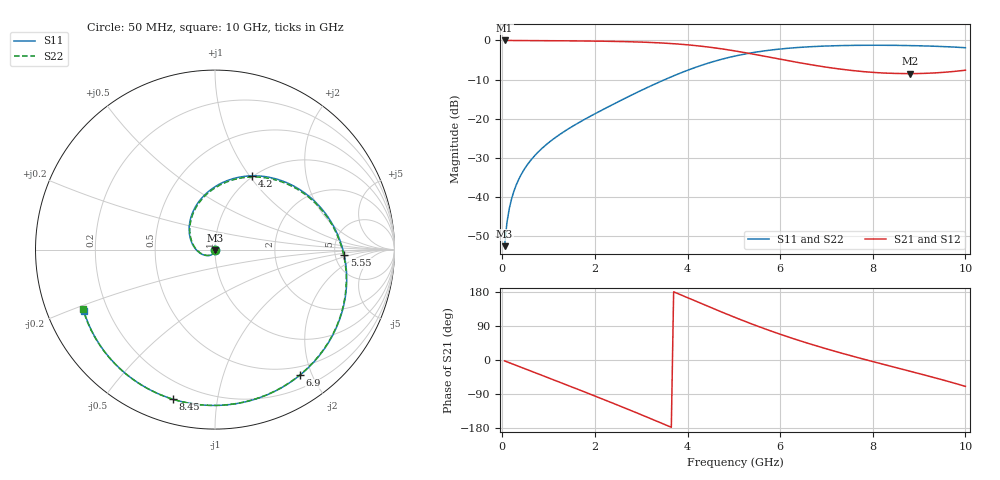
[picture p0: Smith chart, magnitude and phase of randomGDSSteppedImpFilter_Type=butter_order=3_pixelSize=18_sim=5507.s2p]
! freq	dB(S11)	phase(S11)	dB(S12)	phase(S12)
!  dB(S21)	phase(S21)	dB(S22)	phase(S22)
!S-par simulation data
#  GHz  S  DB  R 50
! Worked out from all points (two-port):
!   200 points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, 50 MHz to 10 GHz, reference 50 ohm
!   highest |S21| = -0.01 dB at 50 MHz (marker M1); lowest = -8.5 dB at 8.8 GHz (marker M2)
!   |S21| within 3 dB of the highest: start of sweep to 5.187 GHz
!   lowest |S11| = -52.5 dB at 50 MHz (marker M3), VSWR 1.00, Z = 50 - j0.236 ohm
!   |S11| at or under -10 dB: start of sweep to 3.509 GHz
!   |S22| runs from -52.5 to -1.2 dB; largest |S21 - S12| = 0
!   S11 on the Smith chart (normalised r, x): 50 MHz: 1.00, -0.00; 4.2 GHz: 0.99, +1.03; 5.55 GHz: 6.06, -0.74; 6.9 GHz: 0.37, -1.82; 8.45 GHz: 0.11, -0.75; 10 GHz: 0.11, -0.22
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0.05  -52.52 -90.8  -0.01 -2.4  -0.01 -2.4  -52.53 -90.8
0.1  -46.50 -94.0  -0.01 -4.8  -0.01 -4.8  -46.51 -94.1
0.2  -40.47 -99.1  -0.02 -9.5  -0.02 -9.5  -40.48 -99.4
0.45  -33.36 -111.3  -0.03 -21.3  -0.03 -21.3  -33.37 -111.8
1.15  -24.75 -145.0  -0.08 -54.4  -0.08 -54.4  -24.75 -146.3
1.75  -20.33 -174.0  -0.14 -83.0  -0.14 -83.0  -20.33 -175.7
2.5  -15.67 149.6  -0.26 -119.4  -0.26 -119.4  -15.67 147.7
3  -12.75 124.7  -0.42 -144.4  -0.42 -144.4  -12.76 122.9
3.4  -10.57 104.5  -0.62 -164.7  -0.62 -164.7  -10.57 102.7
3.8  -8.55 84.1  -0.92 174.7  -0.92 174.7  -8.55 82.3
4.2  -6.76 63.5  -1.35 154.0  -1.35 154.0  -6.77 61.9
4.65  -5.09 40.6  -2.00 131.0  -2.00 131.0  -5.09 39.2
5.05  -3.92 20.9  -2.73 111.1  -2.73 111.1  -3.92 19.6
5.55  -2.85 -2.3  -3.78 87.6  -3.78 87.6  -2.84 -3.5
6.1  -2.07 -25.8  -5.01 63.8  -5.01 63.8  -2.07 -26.8
6.7  -1.57 -48.8  -6.27 40.3  -6.27 40.3  -1.58 -49.7
6.9  -1.47 -56.0  -6.65 33.0  -6.65 33.0  -1.47 -56.9
7.6  -1.26 -79.5  -7.73 8.8  -7.73 8.8  -1.26 -80.3
8.35  -1.24 -102.8  -8.37 -15.2  -8.37 -15.2  -1.24 -103.6
8.45  -1.25 -105.8  -8.41 -18.4  -8.41 -18.4  -1.25 -106.6
8.8  -1.31 -116.4  -8.47 -29.5  -8.47 -29.5  -1.31 -117.2
10  -1.86 -154.7  -7.60 -69.7  -7.60 -69.7  -1.86 -155.6
